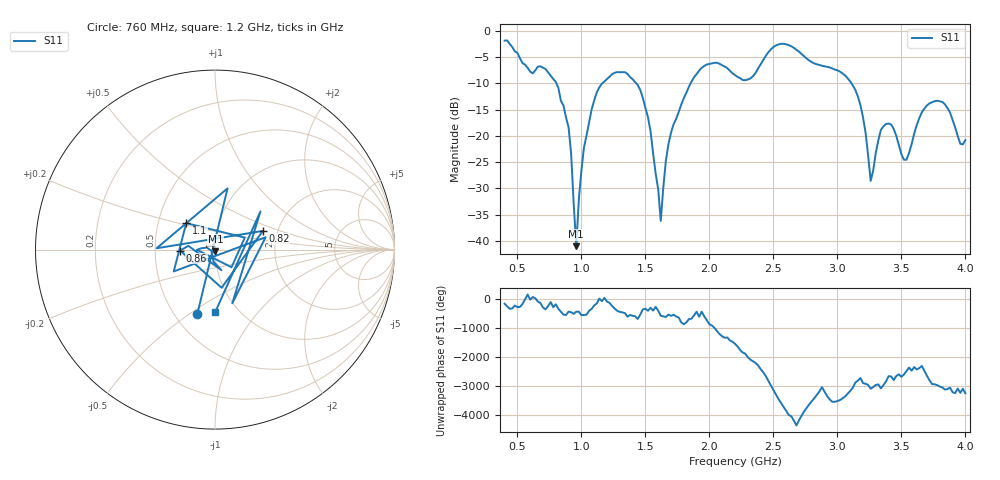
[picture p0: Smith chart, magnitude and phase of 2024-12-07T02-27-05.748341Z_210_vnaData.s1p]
!Created with skrf (http://scikit-rf.org).
# Hz S RI R 50.0
!freq ReS11 ImS11
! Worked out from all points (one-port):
!   181 points, 400 MHz to 4 GHz, reference 50 ohm
!   lowest |S11| = -41.0 dB at 960 MHz (marker M1), VSWR 1.02, Z = 50.2 - j0.862 ohm
!   |S11| at or under -10 dB: 804.5 MHz to 1.162 GHz (358 MHz wide, 36.4 % of centre); 1.429 GHz to 1.853 GHz (424.4 MHz wide, 25.9 % of centre); 3.11 GHz to end of sweep
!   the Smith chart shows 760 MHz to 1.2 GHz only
!   S11 on the Smith chart (normalised r, x): 760 MHz: 0.64, -0.54; 820 MHz: 1.67, +0.38; 860 MHz: 0.67, -0.01; 1.1 GHz: 0.70, +0.22; 1.2 GHz: 0.79, -0.62
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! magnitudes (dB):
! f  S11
! 400 MHz  -1.9
! 760 MHz  -8.5
! 820 MHz  -10.9
! 860 MHz  -14.2
! 920 MHz  -23.5
! 960 MHz  -41.0
! 980 MHz  -32.1
! 1.02 GHz  -22.2
! 1.1 GHz  -13.2
! 1.2 GHz  -9.2
! 1.3 GHz  -7.9
! 1.48 GHz  -12.8
! 1.54 GHz  -19.1
! 1.62 GHz  -36.2
! 1.68 GHz  -21.6
! 1.76 GHz  -15.5
! 1.96 GHz  -6.7
! 2.2 GHz  -8.4
! 2.66 GHz  -3.2
! 3.1 GHz  -9.6
! 3.2 GHz  -16.4
! 3.26 GHz  -28.6
! 3.38 GHz  -17.7
! 3.52 GHz  -24.5
! 3.56 GHz  -23.2
! 3.66 GHz  -15.5
! 3.76 GHz  -13.4
! 4 GHz  -20.8
